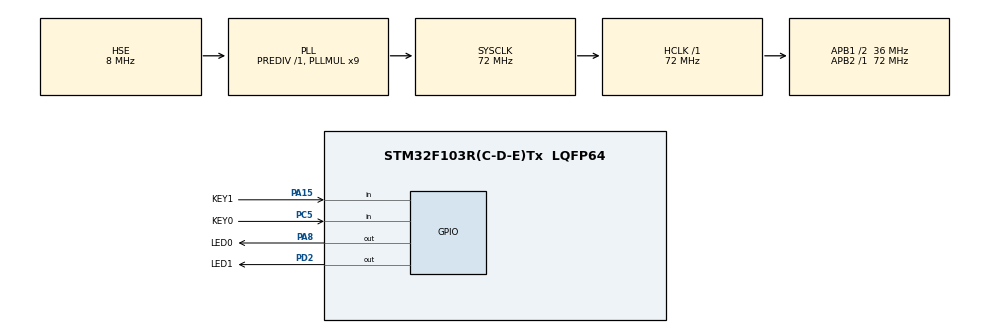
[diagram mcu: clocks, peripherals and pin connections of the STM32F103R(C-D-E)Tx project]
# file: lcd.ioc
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Mcu.Family=STM32F1
Mcu.Name=STM32F103R(C-D-E)Tx
Mcu.Package=LQFP64
NVIC.PriorityGroup=NVIC_PRIORITYGROUP_4
PA13.Mode=Serial_Wire
PA13.Signal=SYS_JTMS-SWDIO
PA14.Mode=Serial_Wire
PA14.Signal=SYS_JTCK-SWCLK
PA15.GPIO_Label=KEY1
PA15.GPIO_PuPd=GPIO_PULLUP
PA15.Signal=GPIO_Input
PA8.GPIO_Label=LED0
PA8.PinState=GPIO_PIN_SET
PA8.Signal=GPIO_Output
PC5.GPIO_Label=KEY0
PC5.GPIO_PuPd=GPIO_PULLUP
PC5.Signal=GPIO_Input
PD0-OSC_IN.Mode=HSE-External-Oscillator
PD0-OSC_IN.Signal=RCC_OSC_IN
PD1-OSC_OUT.Mode=HSE-External-Oscillator
PD1-OSC_OUT.Signal=RCC_OSC_OUT
PD2.GPIO_Label=LED1
PD2.PinState=GPIO_PIN_SET
PD2.Signal=GPIO_Output
ProjectManager.HeapSize=0x200
ProjectManager.StackSize=0x400
ProjectManager.TargetToolchain=STM32CubeIDE
RCC.AHBFreq_Value=72000000
RCC.APB1CLKDivider=RCC_HCLK_DIV2
RCC.APB1Freq_Value=36000000
RCC.APB1TimFreq_Value=72000000
RCC.APB2Freq_Value=72000000
RCC.APB2TimFreq_Value=72000000
RCC.HCLKFreq_Value=72000000
RCC.PLLMUL=RCC_PLL_MUL9
RCC.PLLSourceVirtual=RCC_PLLSOURCE_HSE
RCC.SYSCLKFreq_VALUE=72000000
RCC.SYSCLKSource=RCC_SYSCLKSOURCE_PLLCLK
RCC.USBFreq_Value=72000000
board=custom

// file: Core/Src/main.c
/* USER CODE BEGIN Header */
/**
  ******************************************************************************
  * @file           : main.c
  * @brief          : Main program body
  ******************************************************************************
  * @attention
  *
  * <h2><center>&copy; Copyright (c) 2024 STMicroelectronics.
  * All rights reserved.</center></h2>
  *
  * This software component is licensed by ST under BSD 3-Clause license,
  * the "License"; You may not use this file except in compliance with the
  * License. You may obtain a copy of the License at:
  *                        opensource.org/licenses/BSD-3-Clause
  *
  ******************************************************************************
  */
/* USER CODE END Header */
#include "main.h"
#include "gpio.h"
#include "lcd.h"

void SystemClock_Config(void);

int main(void)
{

  /* MCU Configuration--------------------------------------------------------*/

  /* Reset of all peripherals, Initializes the Flash interface and the Systick. */
  HAL_Init();

  /* Configure the system clock */
  SystemClock_Config();

  /* Initialize all configured peripherals */
  MX_GPIO_Init();

  /* Infinite loop */
  /* USER CODE BEGIN WHILE */
  lcd_init();
  uint8_t x = 0;
  while (1)
  {
    /* USER CODE END WHILE */

    /* USER CODE BEGIN 3 */
	  switch (x) {
	  	  case 0: lcd_clear(WHITE); g_back_color = WHITE; break;
	  	  case 1: lcd_clear(BLACK); g_back_color = BLACK; break;
	  	  case 2: lcd_clear(BLUE); g_back_color = BLUE; break;
	  	  case 3: lcd_clear(RED); g_back_color = RED; break;
	  	  case 4: lcd_clear(MAGENTA); g_back_color = MAGENTA; break;
	  	  case 5: lcd_clear(GREEN); g_back_color = GREEN; break;
	  	  case 6: lcd_clear(CYAN); g_back_color = CYAN; break;
	  	  case 7: lcd_clear(YELLOW); g_back_color = YELLOW; break;
	  	  case 8: lcd_clear(BRRED); g_back_color = BRRED; break;
	  	  case 9: lcd_clear(GRAY); g_back_color = GRAY; break;
	  	  case 10: lcd_clear(LGRAY); g_back_color = LGRAY; break;
	  	  case 11: lcd_clear(BROWN); g_back_color = BROWN; break;
	  	  }//end of switch

	  lcd_show_string(30, 40, 200, 24, 24, "Mini STM32 ^_^", RED);
	  lcd_show_string(30, 70, 200, 16, 16, "TFTLCD TEST", RED);
	  /* Code of showing address of GPIOA->CRL (represented in hexadecimal) BEGIN */
	  // lcd_show_string(30, 90, 200, 16, 16, "addr = 0x", RED);
	  lcd_show_string(30, 90, 100, 16, 16, "addr = 0x", RED);
	  char hex[17] = "0123456789ABCDEF";
	  int i = 7, x = (uint32_t) &GPIOA->CRL;
	  char num[i + 2];
	  while (i >= 0) {
		  num[i--] = hex[x & 0xF];
		  x = x >> 4;
	  }
	  lcd_show_string(102, 90, 60, 16, 16, num, RED);
	  /* Code of showing address of GPIOA->CRL (represented in hexadecimal) END */

	  lcd_draw_rectangle(30, 150, 210, 190, BLACK);
	  lcd_fill(31, 151, 209, 189, YELLOW);

	  x++;
	  if (x == 12)
	  	  x = 0;

	  HAL_Delay(2000);
  }
  /* USER CODE END 3 */
}

void SystemClock_Config(void)
{
  RCC_OscInitTypeDef RCC_OscInitStruct = {0};
  RCC_ClkInitTypeDef RCC_ClkInitStruct = {0};

  /** Initializes the RCC Oscillators according to the specified parameters
  * in the RCC_OscInitTypeDef structure.
  */
  RCC_OscInitStruct.OscillatorType = RCC_OSCILLATORTYPE_HSE;
  RCC_OscInitStruct.HSEState = RCC_HSE_ON;
  RCC_OscInitStruct.HSEPredivValue = RCC_HSE_PREDIV_DIV1;
  RCC_OscInitStruct.HSIState = RCC_HSI_ON;
  RCC_OscInitStruct.PLL.PLLState = RCC_PLL_ON;
  RCC_OscInitStruct.PLL.PLLSource = RCC_PLLSOURCE_HSE;
  RCC_OscInitStruct.PLL.PLLMUL = RCC_PLL_MUL9;
  if (HAL_RCC_OscConfig(&RCC_OscInitStruct) != HAL_OK)
  {
    Error_Handler();
  }
  /** Initializes the CPU, AHB and APB buses clocks
  */
  RCC_ClkInitStruct.ClockType = RCC_CLOCKTYPE_HCLK|RCC_CLOCKTYPE_SYSCLK
                              |RCC_CLOCKTYPE_PCLK1|RCC_CLOCKTYPE_PCLK2;
  RCC_ClkInitStruct.SYSCLKSource = RCC_SYSCLKSOURCE_PLLCLK;
  RCC_ClkInitStruct.AHBCLKDivider = RCC_SYSCLK_DIV1;
  RCC_ClkInitStruct.APB1CLKDivider = RCC_HCLK_DIV2;
  RCC_ClkInitStruct.APB2CLKDivider = RCC_HCLK_DIV1;

  if (HAL_RCC_ClockConfig(&RCC_ClkInitStruct, FLASH_LATENCY_2) != HAL_OK)
  {
    Error_Handler();
  }
}

void Error_Handler(void)
{
  __disable_irq();
  while (1)
  {
  }
}

/************************ (C) COPYRIGHT STMicroelectronics *****END OF FILE****/
